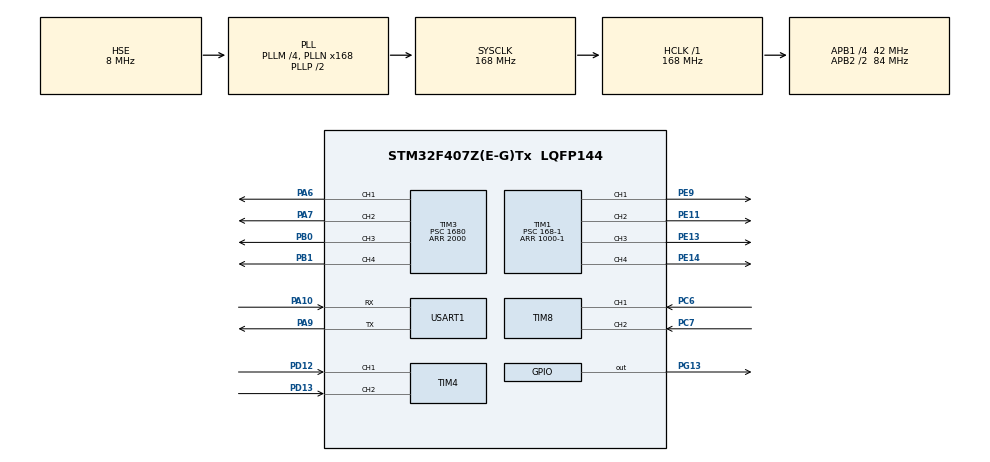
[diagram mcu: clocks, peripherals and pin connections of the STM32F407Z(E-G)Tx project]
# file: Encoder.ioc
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Mcu.Family=STM32F4
Mcu.Name=STM32F407Z(E-G)Tx
Mcu.Package=LQFP144
NVIC.PriorityGroup=NVIC_PRIORITYGROUP_4
NVIC.TIM2_IRQn=true\:1\:0\:true\:false\:true\:true\:true\:true
NVIC.TIM4_IRQn=true\:0\:0\:false\:false\:true\:true\:true\:true
PA10.Mode=Asynchronous
PA10.Signal=USART1_RX
PA6.Signal=S_TIM3_CH1
PA7.Signal=S_TIM3_CH2
PA9.Mode=Asynchronous
PA9.Signal=USART1_TX
PB0.Signal=S_TIM3_CH3
PB1.Signal=S_TIM3_CH4
PC6.Signal=S_TIM8_CH1
PC7.Signal=S_TIM8_CH2
PD12.Signal=S_TIM4_CH1
PD13.Signal=S_TIM4_CH2
PE11.Signal=S_TIM1_CH2
PE13.Signal=S_TIM1_CH3
PE14.Signal=S_TIM1_CH4
PE9.Signal=S_TIM1_CH1
PG13.PinState=GPIO_PIN_SET
PG13.Signal=GPIO_Output
PH0-OSC_IN.Mode=HSE-External-Oscillator
PH0-OSC_IN.Signal=RCC_OSC_IN
PH1-OSC_OUT.Mode=HSE-External-Oscillator
PH1-OSC_OUT.Signal=RCC_OSC_OUT
ProjectManager.HeapSize=0x200
ProjectManager.StackSize=0x400
ProjectManager.TargetToolchain=MDK-ARM V5.32
RCC.48MHZClocksFreq_Value=84000000
RCC.AHBFreq_Value=168000000
RCC.APB1CLKDivider=RCC_HCLK_DIV4
RCC.APB1Freq_Value=42000000
RCC.APB1TimFreq_Value=84000000
RCC.APB2CLKDivider=RCC_HCLK_DIV2
RCC.APB2Freq_Value=84000000
RCC.APB2TimFreq_Value=168000000
RCC.CortexFreq_Value=168000000
RCC.HCLKFreq_Value=168000000
RCC.HSE_VALUE=8000000
RCC.HSI_VALUE=16000000
RCC.LSE_VALUE=32768
RCC.PLLM=4
RCC.PLLN=168
RCC.PLLSourceVirtual=RCC_PLLSOURCE_HSE
RCC.SYSCLKFreq_VALUE=168000000
RCC.SYSCLKSource=RCC_SYSCLKSOURCE_PLLCLK
RCC.VCOOutputFreq_Value=336000000
SH.S_TIM1_CH1.0=TIM1_CH1,PWM Generation1 CH1
SH.S_TIM1_CH2.0=TIM1_CH2,PWM Generation2 CH2
SH.S_TIM1_CH3.0=TIM1_CH3,PWM Generation3 CH3
SH.S_TIM1_CH4.0=TIM1_CH4,PWM Generation4 CH4
SH.S_TIM3_CH1.0=TIM3_CH1,PWM Generation1 CH1
SH.S_TIM3_CH2.0=TIM3_CH2,PWM Generation2 CH2
SH.S_TIM3_CH3.0=TIM3_CH3,PWM Generation3 CH3
SH.S_TIM3_CH4.0=TIM3_CH4,PWM Generation4 CH4
SH.S_TIM4_CH1.0=TIM4_CH1,Encoder_Interface
SH.S_TIM4_CH2.0=TIM4_CH2,Encoder_Interface
SH.S_TIM8_CH1.0=TIM8_CH1,Encoder_Interface
SH.S_TIM8_CH2.0=TIM8_CH2,Encoder_Interface
TIM1.AutoReloadPreload=TIM_AUTORELOAD_PRELOAD_ENABLE
TIM1.Channel-PWM\ Generation1\ CH1=TIM_CHANNEL_1
TIM1.Channel-PWM\ Generation2\ CH2=TIM_CHANNEL_2
TIM1.Channel-PWM\ Generation3\ CH3=TIM_CHANNEL_3
TIM1.Channel-PWM\ Generation4\ CH4=TIM_CHANNEL_4
TIM1.Period=1000-1
TIM1.Prescaler=168-1
TIM3.AutoReloadPreload=TIM_AUTORELOAD_PRELOAD_ENABLE
TIM3.Channel-PWM\ Generation1\ CH1=TIM_CHANNEL_1
TIM3.Channel-PWM\ Generation2\ CH2=TIM_CHANNEL_2
TIM3.Channel-PWM\ Generation3\ CH3=TIM_CHANNEL_3
TIM3.Channel-PWM\ Generation4\ CH4=TIM_CHANNEL_4
TIM3.Period=2000
TIM3.Prescaler=1680
TIM4.EncoderMode=TIM_ENCODERMODE_TI12
TIM8.EncoderMode=TIM_ENCODERMODE_TI12
USART1.VirtualMode=VM_ASYNC
VP_TIM1_VS_ClockSourceINT.Mode=Internal
VP_TIM2_VS_ClockSourceINT.Mode=Internal
VP_TIM3_VS_ClockSourceINT.Mode=Internal
board=custom

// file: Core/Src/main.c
/* USER CODE BEGIN Header */
/**
  ******************************************************************************
  * @file           : main.c
  * @brief          : Main program body
  ******************************************************************************
  * @attention
  *
  * Copyright (c) 2022 STMicroelectronics.
  * All rights reserved.
  *
  * This software is licensed under terms that can be found in the LICENSE file
  * in the root directory of this software component.
  * If no LICENSE file comes with this software, it is provided AS-IS.
  *
  ******************************************************************************
  */
/* USER CODE END Header */
#include "main.h"
#include "dma.h"
#include "usart.h"
#include "gpio.h"
#include <stdlib.h>

#include "stdio.h"
#include "mpu6050.h"
#include "inv_mpu.h"
#include "inv_mpu_dmp_motion_driver.h"
#include "UpperMonitor.h"

#define KEY0 		PFin(6)
#define KEY1 		PFin(7)
#define KEY2 		PFin(8)
#define KEY3 	  PFin(9)

//按键值定义
#define KEY0_DATA	  1
#define KEY1_DATA	  2
#define KEY2_DATA	  3
#define KEY3_DATA   4

//定义一些常用的数据类型短关键字
typedef int32_t  s32;
typedef int16_t s16;
typedef int8_t  s8;

typedef const int32_t sc32;
typedef const int16_t sc16;
typedef const int8_t sc8;

typedef __IO int32_t  vs32;
typedef __IO int16_t  vs16;
typedef __IO int8_t   vs8;

typedef __I int32_t vsc32;
typedef __I int16_t vsc16;
typedef __I int8_t vsc8;

typedef uint32_t  u32;
typedef uint16_t u16;
typedef uint8_t  u8;

typedef const uint32_t uc32;
typedef const uint16_t uc16;
typedef const uint8_t uc8;

typedef __IO uint32_t  vu32;
typedef __IO uint16_t vu16;
typedef __IO uint8_t  vu8;

typedef __I uint32_t vuc32;
typedef __I uint16_t vuc16;
typedef __I uint8_t vuc8;

typedef struct
{
	u16 data0:1;
	u16 data1:1;
	u16 data2:1;
	u16 data3:1;
	u16 data4:1;
	u16 data5:1;
	u16 data6:1;
	u16 data7:1;
	u16 data8:1;
	u16 data9:1;
	u16 data10:1;
	u16 data11:1;
	u16 data12:1;
	u16 data13:1;
	u16 data14:1;
	u16 data15:1;
}_gpio_group;

//位带操作,实现51类似的GPIO控制功能
//具体实现思想,参考<<CM3权威指南>>第五章(87页~92页).M4同M3类似,只是寄存器地址变了.
//IO口操作宏定义
#define BITBAND(addr, bitnum) ((addr & 0xF0000000)+0x2000000+((addr &0xFFFFF)<<5)+(bitnum<<2))
#define MEM_ADDR(addr)  *((volatile unsigned long  *)(addr))
#define BIT_ADDR(addr, bitnum)   MEM_ADDR(BITBAND(addr, bitnum))
//IO口地址映射
#define GPIOA_ODR_Addr    (GPIOA_BASE+20) //0x40020014
#define GPIOB_ODR_Addr    (GPIOB_BASE+20) //0x40020414
#define GPIOC_ODR_Addr    (GPIOC_BASE+20) //0x40020814
#define GPIOD_ODR_Addr    (GPIOD_BASE+20) //0x40020C14
#define GPIOE_ODR_Addr    (GPIOE_BASE+20) //0x40021014
#define GPIOF_ODR_Addr    (GPIOF_BASE+20) //0x40021414
#define GPIOG_ODR_Addr    (GPIOG_BASE+20) //0x40021814
#define GPIOH_ODR_Addr    (GPIOH_BASE+20) //0x40021C14
#define GPIOI_ODR_Addr    (GPIOI_BASE+20) //0x40022014

#define GPIOA_IDR_Addr    (GPIOA_BASE+16) //0x40020010
#define GPIOB_IDR_Addr    (GPIOB_BASE+16) //0x40020410
#define GPIOC_IDR_Addr    (GPIOC_BASE+16) //0x40020810
#define GPIOD_IDR_Addr    (GPIOD_BASE+16) //0x40020C10
#define GPIOE_IDR_Addr    (GPIOE_BASE+16) //0x40021010
#define GPIOF_IDR_Addr    (GPIOF_BASE+16) //0x40021410
#define GPIOG_IDR_Addr    (GPIOG_BASE+16) //0x40021810
#define GPIOH_IDR_Addr    (GPIOH_BASE+16) //0x40021C10
#define GPIOI_IDR_Addr    (GPIOI_BASE+16) //0x40022010

//IO口操作,只对单一的IO口!
//确保n的值小于16!
#define PAout(n)   BIT_ADDR(GPIOA_ODR_Addr,n)  //输出
#define PAin(n)    BIT_ADDR(GPIOA_IDR_Addr,n)  //输入

#define PBout(n)   BIT_ADDR(GPIOB_ODR_Addr,n)  //输出
#define PBin(n)    BIT_ADDR(GPIOB_IDR_Addr,n)  //输入

#define PCout(n)   BIT_ADDR(GPIOC_ODR_Addr,n)  //输出
#define PCin(n)    BIT_ADDR(GPIOC_IDR_Addr,n)  //输入

#define PDout(n)   BIT_ADDR(GPIOD_ODR_Addr,n)  //输出
#define PDin(n)    BIT_ADDR(GPIOD_IDR_Addr,n)  //输入

#define PEout(n)   BIT_ADDR(GPIOE_ODR_Addr,n)  //输出
#define PEin(n)    BIT_ADDR(GPIOE_IDR_Addr,n)  //输入

#define PFout(n)   BIT_ADDR(GPIOF_ODR_Addr,n)  //输出
#define PFin(n)    BIT_ADDR(GPIOF_IDR_Addr,n)  //输入

#define PGout(n)   BIT_ADDR(GPIOG_ODR_Addr,n)  //输出
#define PGin(n)    BIT_ADDR(GPIOG_IDR_Addr,n)  //输入

#define PHout(n)   BIT_ADDR(GPIOH_ODR_Addr,n)  //输出
#define PHin(n)    BIT_ADDR(GPIOH_IDR_Addr,n)  //输入

#define PIout(n)   BIT_ADDR(GPIOI_ODR_Addr,n)  //输出
#define PIin(n)    BIT_ADDR(GPIOI_IDR_Addr,n)  //输入

#define SYSCLK 168    //系统时钟

//以下为汇编函数
void WFI_SET(void);		   //执行WFI指令
void INTX_DISABLE(void); //关闭所有中断
void INTX_ENABLE(void);	 //开启所有中断
void MSR_MSP(u32 addr);	 //设置堆栈地址

void GPIO_group_OUT(_gpio_group *group,u16 outdata);
void GPIO_bits_OUT(GPIO_TypeDef* GPIOx, u8 start_bit, u8 bit_size,u16 outdata);

void Stm32_Clock_Init(u32 plln,u32 pllm,u32 pllp,u32 pllq);//时钟系统配置

//void delay_init(void);
//void delay_ms(u16 nms);
//void delay_us(u32 nus);

#define USART3_REC_NUM  			100  	//定义最大接收字节数 200
extern u8 uart_byte_count;          //uart_byte_count要小于USART_REC_LEN
extern u8 receive_str[USART3_REC_NUM];

extern UART_HandleTypeDef UART3_Handler; //UART句柄
#define RXBUFFERSIZE   1 //缓存大小
extern u8 aRxBuffer[RXBUFFERSIZE];//HAL库USART接收Buffer

void uart3_init(u32 bound);
void uart3SendChars(u8 *str, u16 strlen);

#include "string.h"
#include "stdlib.h"

//LED端口定义
#define LED0 PGout(13)
#define LED1 PGout(14)
#define LED2 PGout(15)

//函数声明
void LED_Init(void);//初始化

void LED_Init(void)
{
    GPIO_InitTypeDef GPIO_Initure;
	  __HAL_RCC_GPIOG_CLK_ENABLE();           //开启GPIOG时钟

    GPIO_Initure.Pin=GPIO_PIN_13|GPIO_PIN_14|GPIO_PIN_15; //PG13,14，15
    GPIO_Initure.Mode=GPIO_MODE_OUTPUT_PP;  //推挽输出
    GPIO_Initure.Pull=GPIO_PULLUP;          //上拉
    GPIO_Initure.Speed=GPIO_SPEED_HIGH;     //高速
    HAL_GPIO_Init(GPIOG,&GPIO_Initure);

    HAL_GPIO_WritePin(GPIOG,GPIO_PIN_13,GPIO_PIN_SET);	//PG13置1，默认初始化后灯灭
    HAL_GPIO_WritePin(GPIOG,GPIO_PIN_14,GPIO_PIN_SET);	//PG14置1，默认初始化后灯灭
	  HAL_GPIO_WritePin(GPIOG,GPIO_PIN_15,GPIO_PIN_SET);	//PG15置1，默认初始化后灯灭
}

/*********************************************************************************
************************启明欣欣 STM32F407核心开发板******************************
**********************************************************************************
* 文件名称: usart1.c                                                             *
* 文件简述：USART1使用                                                           *
* 创建日期：2015.03.06                                                           *
* 版    本：V1.0                                                                 *
* 作    者：Clever                                                               *
* 说    明：利用串口调试助手经过USART1控制LED亮灭与蜂鸣器响闭                    *
**********************************************************************************
*********************************************************************************/

u8 receive_str[USART3_REC_NUM];     //接收缓存数组,最大USART_REC_LEN个字节
u8 uart_byte_count=0;

u8 aRxBuffer[RXBUFFERSIZE]; //HAL库使用的串口接收缓冲
UART_HandleTypeDef UART3_Handler; //UART句柄

/****************************************************************************
* 名    称: void uart1_init(u32 bound)
* 功    能：USART1初始化
* 入口参数：bound：波特率
* 返回参数：无
* 说    明：
****************************************************************************/
void uart3_init(u32 bound)
{
  //UART 初始化设置
	UART3_Handler.Instance=USART3;					    //USART3
	UART3_Handler.Init.BaudRate=bound;				    //波特率
	UART3_Handler.Init.WordLength=UART_WORDLENGTH_8B;   //字长为8位数据格式
	UART3_Handler.Init.StopBits=UART_STOPBITS_1;	    //一个停止位
	UART3_Handler.Init.Parity=UART_PARITY_NONE;		    //无奇偶校验位
	UART3_Handler.Init.HwFlowCtl=UART_HWCONTROL_NONE;   //无硬件流控
	UART3_Handler.Init.Mode=UART_MODE_TX_RX;		    //收发模式
	HAL_UART_Init(&UART3_Handler);					    //HAL_UART_Init()会使能UART1

	HAL_UART_Receive_IT(&UART3_Handler, (u8 *)aRxBuffer, RXBUFFERSIZE);//该函数会开启接收中断：标志位UART_IT_RXNE，并且设置接收缓冲以及接收缓冲接收最大数据量
}

/*因printf()之类的函数，使用了半主机模式。使用标准库会导致程序无法
	运行,以下是解决方法:使用微库,因为使用微库的话,不会使用半主机模式.
	请在工程属性的“Target“-》”Code Generation“中勾选”Use MicroLIB“这
	样以后就可以使用printf，sprintf函数了*/
//重定义fputc函数
int fputc(int ch, FILE *f)
{
	while((USART3->SR&0X40)==0);//循环发送,直到发送完毕
	USART3->DR = (u8) ch;
	return ch;
}

//串口1发送一个字符
void uart3SendChar(u8 ch)
{
	while((USART3->SR&0x40)==0);
    USART3->DR = (u8) ch;
}

/****************************************************************************
* 名    称: void uart1SendChars(u8 *str, u16 strlen)
* 功    能：串口1发送一字符串
* 入口参数：*str：发送的字符串
            strlen：字符串长度
* 返回参数：无
* 说    明：
****************************************************************************/
void uart3SendChars(u8 *str, u16 strlen)
{
	  u16 k= 0 ;
   do { uart3SendChar(*(str + k)); k++; }   //循环发送,直到发送完毕
    while (k < strlen);
}

//串口1中断服务程序
void USART3_IRQHandler(void)
{
	u32 timeout=0;

	HAL_UART_IRQHandler(&UART3_Handler);	//调用HAL库中断处理公用函数

	timeout=0;
    while (HAL_UART_GetState(&UART3_Handler) != HAL_UART_STATE_READY)//等待就绪
	{
	 timeout++;////超时处理
     if(timeout>HAL_MAX_DELAY) break;

	}

	timeout=0;
	while(HAL_UART_Receive_IT(&UART3_Handler, (u8 *)aRxBuffer, RXBUFFERSIZE) != HAL_OK)//一次处理完成之后，重新开启中断并设置RxXferCount为1
	{
	 timeout++; //超时处理
	 if(timeout>HAL_MAX_DELAY) break;
  }
}

//变量声明
extern u8   keydown_data;    //按键按下后就返回的值
extern u8   keyup_data;      //按键抬起返回值
extern u16  key_time;
extern u8   key_tem;

//函数声明
void KEY_Init(void);	      //IO初始化
void key_scan(u8 mode);  		//按键扫描函数

float pitch,roll,yaw; 		//欧拉角
short aacx,aacy,aacz;		//加速度传感器原始数据
short gyrox,gyroy,gyroz;	//陀螺仪原始数据
short temp;				//温度

TIM_HandleTypeDef htim1;
TIM_HandleTypeDef htim2;
TIM_HandleTypeDef htim3;
TIM_HandleTypeDef htim4;
TIM_HandleTypeDef htim8;

UART_HandleTypeDef huart1;

void SystemClock_Config(void);
static void MX_GPIO_Init(void);
static void MX_TIM1_Init(void);
static void MX_TIM2_Init(void);
static void MX_TIM4_Init(void);
static void MX_USART1_UART_Init(void);
static void MX_TIM8_Init(void);
static void MX_TIM3_Init(void);

/* USER CODE BEGIN 0 */
void servo_angle(int num,int angle);

float Motorn1;  // 电机转速
float Motorv1;  // 电机转速
int pwm_balance;		  // 电机输出
float Motorn2;  // 电机转速
float Motorv2;  // 电机转速
int v;
int turn_pwm;
int left_speed;
int right_speed;
int Speed;
int Speed1;
int Speed2;
int lspeed;
int hspeed;
unsigned char i = 0;
int TIM2_Count = 0;
int Encoder_left = 0;
int Encoder_right = 0;
float Velocity=0,Encoder_Last=0,Encoder=0,Movement=0;
float Encoder_Integral=0;
float bias;
int target_speed = 0;
u8  keydown_data=0x00;    //按键按下后就返回的值
u8  keyup_data=0x00;      //按键抬起返回值
u16  key_time=0x00;       //按键按下之后的时间计数，该值乘以扫描一次按键函数的时间就等于按键按下的时间
u8  key_tem=0x00;         //长按的按键值与按键扫描程序过渡变量
u8  key_bak=0x00;
int run = 0;
int up_down = 0;
int run_ud = 0;
int delt = 0;

//int fputc(int ch, FILE *p)
//{
//	while(!(USART1->SR & (1<<7)));
//	USART1->DR = ch;
//
//	return ch;
//}
/* USER CODE END 0 */

int main(void)
{

  HAL_Init();
  SystemClock_Config();
  MX_GPIO_Init();
  MX_TIM1_Init();
  MX_TIM2_Init();
  MX_TIM4_Init();
  MX_USART1_UART_Init();
  MX_TIM8_Init();
  MX_TIM3_Init();
	KEY_Init();
	uart3_init(9600);	    //串口初始化波特率为9600
	LED_Init();		  		  //初始化与LED
	printf("%d\r\n",MPU_Init());
	mpu_dmp_init();
	HAL_Delay(500);

  HAL_TIM_PWM_Start(&htim1, TIM_CHANNEL_1);	    // TIM1_CH1(pwm)  PE9
	HAL_TIM_PWM_Start(&htim1, TIM_CHANNEL_2);	    // TIM1_CH2(pwm)  PE11
	HAL_TIM_PWM_Start(&htim1, TIM_CHANNEL_3);	    // TIM1_CH3(pwm)  PE13
	HAL_TIM_PWM_Start(&htim1, TIM_CHANNEL_4);	    // TIM1_CH4(pwm)  PE14
  HAL_TIM_Encoder_Start(&htim4, TIM_CHANNEL_1); // 开启编码器A    PD12
  HAL_TIM_Encoder_Start(&htim4, TIM_CHANNEL_2); // 开启编码器B	  PD13
	HAL_TIM_Encoder_Start(&htim8, TIM_CHANNEL_1); // 开启编码器A    PC6
  HAL_TIM_Encoder_Start(&htim8, TIM_CHANNEL_2); // 开启编码器B	  PC7
  HAL_TIM_Base_Start_IT(&htim2);                // 使能定时器2中断
  HAL_TIM_PWM_Start(&htim3,TIM_CHANNEL_1);
	HAL_TIM_PWM_Start(&htim3,TIM_CHANNEL_2);
	HAL_TIM_PWM_Start(&htim3,TIM_CHANNEL_3);
	HAL_TIM_PWM_Start(&htim3,TIM_CHANNEL_4);

  while (1)
  {

		//按键模式
//		key_scan(0);
//		if(keyup_data==KEY0_DATA)     //key按下抬起之后执行相应代码
//		{
//			run = 0;
//			up_down = 0;
//			run_ud = 1;
//		}
//		if(keyup_data==KEY1_DATA)     //key按下抬起之后执行相应代码
//		{
//			run = 0;
//			up_down = 1;
//			run_ud = 0;
//		}
//		if(keyup_data==KEY0_DATA)     //key按下抬起之后执行相应代码
//		{
//			run = 1;
//			up_down = 0;
//			run_ud = 0;
//		}
//
//		if(!run && !up_down && !run_ud)
//		{
//			servo_angle(1,5);   //CH1 PA6
//			servo_angle(2,5);   //CH2 PA7
//			servo_angle(3,5);   //CH3 PB0
//			servo_angle(4,5);   //CH4 PB1
//		}

//			servo_angle(1,5);   //CH1 PA6
//			servo_angle(2,5);   //CH2 PA7
//			servo_angle(3,5);   //CH3 PB0
//			servo_angle(4,5);   //CH4 PB1
//
		//舵机角度 TIM3
		//0-20ms->2000,0.5-1.5ms->50-150(13)或150-50(24)

			//******** 伸缩腿平衡 ********
//		if(up_down == 1)
//		{
//			servo_angle(1,5);   //CH1 PA6
//			servo_angle(2,5);   //CH2 PA7
//			servo_angle(3,5);   //CH3 PB0
//			servo_angle(4,5);   //CH4 PB1
//			HAL_Delay(3000);
//			servo_angle(1,10);   //CH1 PA6
//			servo_angle(2,10);   //CH2 PA7
//			servo_angle(3,10);   //CH3 PB0
//			servo_angle(4,10);   //CH4 PB1
//			HAL_Delay(50);
//			servo_angle(1,15);   //CH1 PA6
//			servo_angle(2,15);   //CH2 PA7
//			servo_angle(3,15);   //CH3 PB0
//			servo_angle(4,15);   //CH4 PB1
//			HAL_Delay(50);
//			servo_angle(1,20);   //CH1 PA6
//			servo_angle(2,20);   //CH2 PA7
//			servo_angle(3,20);   //CH3 PB0
//			servo_angle(4,20);   //CH4 PB1
//			HAL_Delay(50);
//			servo_angle(1,25);   //CH1 PA6
//			servo_angle(2,25);   //CH2 PA7
//			servo_angle(3,25);   //CH3 PB0
//			servo_angle(4,25);   //CH4 PB1
//			HAL_Delay(50);
//			servo_angle(1,30);   //CH1 PA6
//			servo_angle(2,30);   //CH2 PA7
//			servo_angle(3,30);   //CH3 PB0
//			servo_angle(4,30);   //CH4 PB1
//			HAL_Delay(500);
//			servo_angle(1,25);   //CH1 PA6
//			servo_angle(2,25);   //CH2 PA7
//			servo_angle(3,25);   //CH3 PB0
//			servo_angle(4,25);   //CH4 PB1
//			HAL_Delay(50);
//			servo_angle(1,20);   //CH1 PA6
//			servo_angle(2,20);   //CH2 PA7
//			servo_angle(3,20);   //CH3 PB0
//			servo_angle(4,20);   //CH4 PB1
//			HAL_Delay(50);
//			servo_angle(1,15);   //CH1 PA6
//			servo_angle(2,15);   //CH2 PA7
//			servo_angle(3,15);   //CH3 PB0
//			servo_angle(4,15);   //CH4 PB1
//			HAL_Delay(50);
//			servo_angle(1,10);   //CH1 PA6
//			servo_angle(2,10);   //CH2 PA7
//			servo_angle(3,10);   //CH3 PB0
//			servo_angle(4,10);   //CH4 PB1
//			HAL_Delay(50);
//		}

//		if(run_ud == 1)
//		{
//			servo_angle(1,5);   //CH1 PA6
//			servo_angle(2,5);   //CH2 PA7
//			servo_angle(3,5);   //CH3 PB0
//			servo_angle(4,5);   //CH4 PB1
//			HAL_Delay(3000);
//			servo_angle(1,10);   //CH1 PA6
//			servo_angle(2,10);   //CH2 PA7
//			servo_angle(3,10);   //CH3 PB0
//			servo_angle(4,10);   //CH4 PB1
//			HAL_Delay(50);
//			servo_angle(1,17);   //CH1 PA6
//			servo_angle(2,15);   //CH2 PA7
//			servo_angle(3,15);   //CH3 PB0
//			servo_angle(4,17);   //CH4 PB1
//			HAL_Delay(50);
//			servo_angle(1,23);   //CH1 PA6
//			servo_angle(2,20);   //CH2 PA7
//			servo_angle(3,20);   //CH3 PB0
//			servo_angle(4,23);   //CH4 PB1
//			HAL_Delay(50);
//			servo_angle(1,29);   //CH1 PA6
//			servo_angle(2,25);   //CH2 PA7
//			servo_angle(3,25);   //CH3 PB0
//			servo_angle(4,29);   //CH4 PB1
//			HAL_Delay(50);
//			servo_angle(1,23);   //CH1 PA6
//			servo_angle(2,20);   //CH2 PA7
//			servo_angle(3,20);   //CH3 PB0
//			servo_angle(4,23);   //CH4 PB1
//			HAL_Delay(50);
//			servo_angle(1,17);   //CH1 PA6
//			servo_angle(2,15);   //CH2 PA7
//			servo_angle(3,15);   //CH3 PB0
//			servo_angle(4,17);   //CH4 PB1
//			HAL_Delay(50);
//			servo_angle(1,10);   //CH1 PA6
//			servo_angle(2,10);   //CH2 PA7
//			servo_angle(3,10);   //CH3 PB0
//			servo_angle(4,10);   //CH4 PB1
//			HAL_Delay(50);
//		}

  }
  /* USER CODE END 3 */
}

//按键IO口初始化函数
void KEY_Init(void)
{
    GPIO_InitTypeDef GPIO_Initure;

    __HAL_RCC_GPIOF_CLK_ENABLE();           //开启GPIOF时钟

		GPIO_Initure.Pin=GPIO_PIN_6|GPIO_PIN_7|GPIO_PIN_8|GPIO_PIN_9; //PF6,7,8,9    KEY0 KEY1 KEY2 KEY3对应引脚
    GPIO_Initure.Mode=GPIO_MODE_INPUT;      //输入
    GPIO_Initure.Pull=GPIO_PULLUP;          //上拉
    GPIO_Initure.Speed=GPIO_SPEED_HIGH;     //高速
    HAL_GPIO_Init(GPIOF,&GPIO_Initure);
}
/****************************************************************************
* 名    称: void key_scan(u8 mode)
* 功    能：按键扫描函数
* 入口参数：mode：0：单按
                  1: 连按
* 返回参数：无
* 说    明：响应优先级,KEY0>KEY1>KEY2>KEY3
****************************************************************************/
void key_scan(u8 mode)
{
	 keyup_data=0;         //键抬起后按键值一次有效

	if(KEY0==0||KEY1==0||KEY2==0||KEY3==0)   //有键正按下
	{
		if(KEY0==0)      key_tem=1;
		else if(KEY1==0) key_tem=2;
		else if(KEY2==0) key_tem=3;
		else if(KEY3==0) key_tem=4;

		  if (key_tem == key_bak)      //有键按下后第一次扫描不处理，与else配合第二次扫描有效，这样实现了去抖动
			  {
				   key_time++;             //有键按下后执行一次扫描函数，该变量加1
					 keydown_data=key_tem;   //按键值赋予keydown_data

					 if( (mode==0)&&(key_time>1) )//key_time>1按键值无效，这就是单按，如果mode为1就为连按
					    keydown_data=0;
       	}
	    else                             //去抖动
	      {
		       key_time=0;
		       key_bak=key_tem;
	      }

	}
	else       //键抬起
		{
	     if(key_time>2)            //按键抬起后返回一次按键值
	        {
		        keyup_data=key_tem;  //键抬起后按键值赋予keydown_data
	       	}
				key_bak=0;               //要清零，不然下次执行扫描程序时按键的值跟上次按的值一样，就没有去抖动处理了
	      key_time=0;
				keydown_data=0;
	  }
}

void servo_angle(int num,int angle)
{
	int pwm =  angle*200/180;
	if (num==1) __HAL_TIM_SetCompare(&htim3, TIM_CHANNEL_1, 55+pwm);
	if (num==2) __HAL_TIM_SetCompare(&htim3, TIM_CHANNEL_2, 150-pwm);
	if (num==3) __HAL_TIM_SetCompare(&htim3, TIM_CHANNEL_3, 50+pwm);
	if (num==4) __HAL_TIM_SetCompare(&htim3, TIM_CHANNEL_4, 150-pwm);
}

int balance(int v,float Angle,float Gyro)
{
	 float kp,kd;  //kp对应角度，kd对应角速度
	 //角速度=gyro/16.4；°/s
	 Gyro = Gyro/16.4;

   kp=80;kd=7;
	 float angle_balance = 0;
	 int balance;
	 bias=Angle-angle_balance-v;       //===求出平衡的角度中值 和机械相关
	 balance=kp*bias+Gyro*kd;   //===计算平衡控制的电机PWM  PD控制   kp是P系数 kd是D系数

	 return balance;
}

int velocity(int encoder_left,int encoder_right)
{

		int left = encoder_left;
		int right = encoder_right;

    float Velocity_Kp=1,Velocity_Ki=Velocity_Kp/200.0;

    //=============速度PI控制器=======================//
    Encoder_Last =(left + right)-target_speed;                 //===获取最新速度偏差==测量速度（左右编码器之和）-目标速度（此处为零）
    Encoder *= 0.8;                                                  //===一阶低通滤波器
    Encoder += Encoder_Last*0.2;                                    //===一阶低通滤波器
    Encoder_Integral +=Encoder;                                      //===积分出位移 积分时间：5ms
    Encoder_Integral=Encoder_Integral-Movement;                      //===接收遥控器数据，控制前进后退
    if(Encoder_Integral>10000)  Encoder_Integral=10000;              //===积分限幅
    if(Encoder_Integral<-10000) Encoder_Integral=-10000;             //===积分限幅
    Velocity = Encoder*Velocity_Kp+Encoder_Integral*Velocity_Ki;     //===速度控制
    return Velocity;
}

void HAL_TIM_PeriodElapsedCallback(TIM_HandleTypeDef *htim)
{
    //static unsigned char i = 0;
		//5ms一次定TIM2中断
    if (htim == (&htim2))
    {
				TIM2_Count ++;
				if(mpu_dmp_get_data(&pitch,&roll,&yaw)==0)
				{
					//roll往前倒为负
					temp = MPU_Get_Temperature();	//得到温度值
					MPU_Get_Accelerometer(&aacx,&aacy,&aacz);	//得到加速度传感器数据  角加速度=aac/2048
					MPU_Get_Gyroscope(&gyrox,&gyroy,&gyroz);	//得到陀螺仪数据        角速度=gyro/16.4
					//printf("\r\npitch:%02f   yaw:%02f   roll:%02f\r\n",pitch,yaw,roll);
		    }

			  //1.获取转速  时间10ms，减速比1:30，编码器ppr=13，采用4倍频，则 n=100*Pulses/(13*30*4)
        //MotorSpeed = (short)(__HAL_TIM_GET_COUNTER(&htim4)*100/(13*4*30));
//				Motorn1 = (__HAL_TIM_GET_COUNTER(&htim4)*0.064);  //实际大概为一半？
//				Motorv1 = Motorn1*3.14*0.065;
//				Motorn2 = (__HAL_TIM_GET_COUNTER(&htim8)*0.064);  //实际大概为一半？
//				Motorv2 = Motorn2*3.14*0.065;
        // TIM4计数器获得电机脉冲，该电机在10ms采样的脉冲/18则为实际转速的rpm

				//向前为正，向后为负
				Encoder_left = (short)__HAL_TIM_GET_COUNTER(&htim4);
				Encoder_right = -(short)__HAL_TIM_GET_COUNTER(&htim8);
        __HAL_TIM_SET_COUNTER(&htim4,0);  // 计数器清零
			  __HAL_TIM_SET_COUNTER(&htim8,0);  // 计数器清零

				//*****串级PID*****
//				v = velocity(Encoder_left,Encoder_right);
//				pwm_balance=balance(v,roll,gyrox);
//				Speed = pwm_balance;

				//******** 行走 ********
//				if(TIM2_Count<=500) target_speed=0;
//				else target_speed=-10;
//				else if(TIM2_Count<=1500 && target_speed>-15) target_speed--;
//				else if(TIM2_Count<=1500 && target_speed<=-15) target_speed=-15;
//				else if(TIM2_Count<=2700 && target_speed<15) target_speed++;
//				else if(TIM2_Count<=2700 && target_speed>=15) target_speed=15;
//				else TIM2_Count=0;

				int min_speed = 180;
				int max_speed = 400;

//				if(run == 1)
//				{
//					if(TIM2_Count<=500) target_speed=0;
//					else if(TIM2_Count<=1500 && target_speed>-20) target_speed--;
//					else if(TIM2_Count<=1500 && target_speed<=-20) target_speed=-20;
//					else if(TIM2_Count<=2800 && target_speed<20) target_speed++;
//					else if(TIM2_Count<=2800 && target_speed>=20) target_speed=20;
//					else TIM2_Count=0;
//				}
//
//				if(run_ud == 1)
//				{
//					max_speed = 250;
//					if(TIM2_Count<=500) target_speed=0;
//					else if(TIM2_Count<=1500 && target_speed>-15) target_speed--;
//					else if(TIM2_Count<=1500 && target_speed<=-15) target_speed=-15;
//					else if(TIM2_Count<=2600 && target_speed<15) target_speed++;
//					else if(TIM2_Count<=2600 && target_speed>=15) target_speed=15;
//					else TIM2_Count=0;
//				}

				//*****并级PID*****
				pwm_balance=balance(0,roll,gyrox);
				v = velocity(Encoder_left,Encoder_right);
				Speed = pwm_balance - 20*v;

				// 并串PID
//				v = velocity(Encoder_left,Encoder_right);
//				pwm_balance=balance(v,roll,gyrox);
//				Speed = abs(pwm_balance - v);

					if (Speed>0)
					{
						if (Speed<min_speed) Speed=min_speed;
						else if(Speed>max_speed) Speed=max_speed;
						else Speed=Speed;
						__HAL_TIM_SET_COMPARE(&htim1, TIM_CHANNEL_1, 0);
						__HAL_TIM_SET_COMPARE(&htim1, TIM_CHANNEL_4, 0);
						__HAL_TIM_SET_COMPARE(&htim1, TIM_CHANNEL_2, Speed);
						__HAL_TIM_SET_COMPARE(&htim1, TIM_CHANNEL_3, Speed-delt);
					} else
					{
						if (Speed>-min_speed) Speed=-min_speed;
						else if(Speed<-max_speed) Speed=-max_speed;
						else Speed=Speed;
						__HAL_TIM_SET_COMPARE(&htim1, TIM_CHANNEL_2, 0);
						__HAL_TIM_SET_COMPARE(&htim1, TIM_CHANNEL_3, 0);
						__HAL_TIM_SET_COMPARE(&htim1, TIM_CHANNEL_1, -Speed);
						__HAL_TIM_SET_COMPARE(&htim1, TIM_CHANNEL_4, -Speed-delt);
					}

        i++;
        if(i>10)
        {
          // 通过观察小灯亮灭来判断是否正确进入定时器中断
          HAL_GPIO_TogglePin(GPIOG, GPIO_PIN_13);
          // 打印定时器4的计数值，short（-32768——32767）
					//printf("Encoder = %d moto = %d \r\n",MotorSpeed,MotorOutput);
					//printf("转速 = %.2fr/s,  线速度=%.2fm/s \r\n",Motorn1,Motorv1);
					//printf("roll=%.2f,  gyrox=%hd\r\n\r\n",roll,gyrox/(short)16);
//					printf("pitch=%.2f,  gyroy=%hd\r\n\r\n",pitch,gyroy/(short)16);
					//printf("Encoder=%.2f, Integral=%.2f\r\n\r\n",Encoder,Encoder_Integral);
					//printf("left=%d,  right=%d\r\n\r\n",Encoder_left,Encoder_right);
					//printf("speed=%d\r\n\r\n",Speed);
					//printf("roll=%.2f, pitch=%.2f, yaw=%.2f, rx=%d\r\n\r\n",roll,pitch,yaw,gyrox);  //x:roll前后平衡,y:pitch左右平衡,z:yaw转动
					//printf("ax=%hd,ay=%hd,az=%hd,gx=%hd,gy=%hd,gz=%hd \r\n",aacx,aacy,aacz,gyrox,gyroy,gyroz);
          i=0;
        }
//			}
    }
}

void SystemClock_Config(void)
{
  RCC_OscInitTypeDef RCC_OscInitStruct = {0};
  RCC_ClkInitTypeDef RCC_ClkInitStruct = {0};

  /** Configure the main internal regulator output voltage
  */
  __HAL_RCC_PWR_CLK_ENABLE();
  __HAL_PWR_VOLTAGESCALING_CONFIG(PWR_REGULATOR_VOLTAGE_SCALE1);

  /** Initializes the RCC Oscillators according to the specified parameters
  * in the RCC_OscInitTypeDef structure.
  */
  RCC_OscInitStruct.OscillatorType = RCC_OSCILLATORTYPE_HSE;
  RCC_OscInitStruct.HSEState = RCC_HSE_ON;
  RCC_OscInitStruct.PLL.PLLState = RCC_PLL_ON;
  RCC_OscInitStruct.PLL.PLLSource = RCC_PLLSOURCE_HSE;
  RCC_OscInitStruct.PLL.PLLM = 4;
  RCC_OscInitStruct.PLL.PLLN = 168;
  RCC_OscInitStruct.PLL.PLLP = RCC_PLLP_DIV2;
  RCC_OscInitStruct.PLL.PLLQ = 4;
  if (HAL_RCC_OscConfig(&RCC_OscInitStruct) != HAL_OK)
  {
    Error_Handler();
  }

  /** Initializes the CPU, AHB and APB buses clocks
  */
  RCC_ClkInitStruct.ClockType = RCC_CLOCKTYPE_HCLK|RCC_CLOCKTYPE_SYSCLK
                              |RCC_CLOCKTYPE_PCLK1|RCC_CLOCKTYPE_PCLK2;
  RCC_ClkInitStruct.SYSCLKSource = RCC_SYSCLKSOURCE_PLLCLK;
  RCC_ClkInitStruct.AHBCLKDivider = RCC_SYSCLK_DIV1;
  RCC_ClkInitStruct.APB1CLKDivider = RCC_HCLK_DIV4;
  RCC_ClkInitStruct.APB2CLKDivider = RCC_HCLK_DIV2;

  if (HAL_RCC_ClockConfig(&RCC_ClkInitStruct, FLASH_LATENCY_5) != HAL_OK)
  {
    Error_Handler();
  }
}

void HAL_UART_RxCpltCallback(UART_HandleTypeDef *huart)  //中断执行任务函数  被  中断服务函数调用
{
	u8 rec_data;

	if(huart->Instance==USART3)//如果是串口1
	{
		rec_data=aRxBuffer[0] ;
		if(rec_data=='S')		  	 //起始位
				{
					uart_byte_count=0x01;
				}

			else if(rec_data=='E')  //停止位
				{
					if(strcmp("forward",(char *)receive_str)==0)
						{target_speed-=6;}  //前进
					else if(strcmp("back",(char *)receive_str)==0)
						{target_speed+=6;}  //后退
					else if(strcmp("stop",(char *)receive_str)==0)
						{target_speed=0;delt=0;}  //停止
					else if(strcmp("left",(char *)receive_str)==0)
						{delt+=20;}	//左转
					else if(strcmp("right",(char *)receive_str)==0)
						{delt-=20;}	  //右转

					for(uart_byte_count=0;uart_byte_count<32;uart_byte_count++)receive_str[uart_byte_count]=0x00;
					uart_byte_count=0;
				}
			else if((uart_byte_count>0)&&(uart_byte_count<=USART3_REC_NUM))
				{
				   receive_str[uart_byte_count-1]=rec_data;
				   uart_byte_count++;
				}
	}
}

static void MX_TIM1_Init(void)
{

  TIM_ClockConfigTypeDef sClockSourceConfig = {0};
  TIM_MasterConfigTypeDef sMasterConfig = {0};
  TIM_OC_InitTypeDef sConfigOC = {0};
  TIM_BreakDeadTimeConfigTypeDef sBreakDeadTimeConfig = {0};

  htim1.Instance = TIM1;
  htim1.Init.Prescaler = 168-1;
  htim1.Init.CounterMode = TIM_COUNTERMODE_UP;
  htim1.Init.Period = 500-1;
  htim1.Init.ClockDivision = TIM_CLOCKDIVISION_DIV1;
  htim1.Init.RepetitionCounter = 0;
  htim1.Init.AutoReloadPreload = TIM_AUTORELOAD_PRELOAD_ENABLE;
  if (HAL_TIM_Base_Init(&htim1) != HAL_OK)
  {
    Error_Handler();
  }
  sClockSourceConfig.ClockSource = TIM_CLOCKSOURCE_INTERNAL;
  if (HAL_TIM_ConfigClockSource(&htim1, &sClockSourceConfig) != HAL_OK)
  {
    Error_Handler();
  }
  if (HAL_TIM_PWM_Init(&htim1) != HAL_OK)
  {
    Error_Handler();
  }
  sMasterConfig.MasterOutputTrigger = TIM_TRGO_RESET;
  sMasterConfig.MasterSlaveMode = TIM_MASTERSLAVEMODE_DISABLE;
  if (HAL_TIMEx_MasterConfigSynchronization(&htim1, &sMasterConfig) != HAL_OK)
  {
    Error_Handler();
  }
  sConfigOC.OCMode = TIM_OCMODE_PWM1;
  sConfigOC.Pulse = 0;
  sConfigOC.OCPolarity = TIM_OCPOLARITY_HIGH;
  sConfigOC.OCNPolarity = TIM_OCNPOLARITY_HIGH;
  sConfigOC.OCFastMode = TIM_OCFAST_DISABLE;
  sConfigOC.OCIdleState = TIM_OCIDLESTATE_RESET;
  sConfigOC.OCNIdleState = TIM_OCNIDLESTATE_RESET;
  if (HAL_TIM_PWM_ConfigChannel(&htim1, &sConfigOC, TIM_CHANNEL_1) != HAL_OK)
  {
    Error_Handler();
  }
  if (HAL_TIM_PWM_ConfigChannel(&htim1, &sConfigOC, TIM_CHANNEL_2) != HAL_OK)
  {
    Error_Handler();
  }
  if (HAL_TIM_PWM_ConfigChannel(&htim1, &sConfigOC, TIM_CHANNEL_3) != HAL_OK)
  {
    Error_Handler();
  }
  if (HAL_TIM_PWM_ConfigChannel(&htim1, &sConfigOC, TIM_CHANNEL_4) != HAL_OK)
  {
    Error_Handler();
  }
  sBreakDeadTimeConfig.OffStateRunMode = TIM_OSSR_DISABLE;
  sBreakDeadTimeConfig.OffStateIDLEMode = TIM_OSSI_DISABLE;
  sBreakDeadTimeConfig.LockLevel = TIM_LOCKLEVEL_OFF;
  sBreakDeadTimeConfig.DeadTime = 0;
  sBreakDeadTimeConfig.BreakState = TIM_BREAK_DISABLE;
  sBreakDeadTimeConfig.BreakPolarity = TIM_BREAKPOLARITY_HIGH;
  sBreakDeadTimeConfig.AutomaticOutput = TIM_AUTOMATICOUTPUT_DISABLE;
  if (HAL_TIMEx_ConfigBreakDeadTime(&htim1, &sBreakDeadTimeConfig) != HAL_OK)
  {
    Error_Handler();
  }
  HAL_TIM_MspPostInit(&htim1);

}

static void MX_TIM2_Init(void)
{

  TIM_ClockConfigTypeDef sClockSourceConfig = {0};
  TIM_MasterConfigTypeDef sMasterConfig = {0};

  htim2.Instance = TIM2;
  htim2.Init.Prescaler = 840-1;
  htim2.Init.CounterMode = TIM_COUNTERMODE_UP;
  htim2.Init.Period = 500-1;
  htim2.Init.ClockDivision = TIM_CLOCKDIVISION_DIV1;
  htim2.Init.AutoReloadPreload = TIM_AUTORELOAD_PRELOAD_DISABLE;
  if (HAL_TIM_Base_Init(&htim2) != HAL_OK)
  {
    Error_Handler();
  }
  sClockSourceConfig.ClockSource = TIM_CLOCKSOURCE_INTERNAL;
  if (HAL_TIM_ConfigClockSource(&htim2, &sClockSourceConfig) != HAL_OK)
  {
    Error_Handler();
  }
  sMasterConfig.MasterOutputTrigger = TIM_TRGO_RESET;
  sMasterConfig.MasterSlaveMode = TIM_MASTERSLAVEMODE_DISABLE;
  if (HAL_TIMEx_MasterConfigSynchronization(&htim2, &sMasterConfig) != HAL_OK)
  {
    Error_Handler();
  }

}

static void MX_TIM3_Init(void)
{

  TIM_ClockConfigTypeDef sClockSourceConfig = {0};
  TIM_MasterConfigTypeDef sMasterConfig = {0};
  TIM_OC_InitTypeDef sConfigOC = {0};

  htim3.Instance = TIM3;
  htim3.Init.Prescaler = 839;
  htim3.Init.CounterMode = TIM_COUNTERMODE_UP;
  htim3.Init.Period = 2000-1;
  htim3.Init.ClockDivision = TIM_CLOCKDIVISION_DIV1;
  htim3.Init.AutoReloadPreload = TIM_AUTORELOAD_PRELOAD_ENABLE;
  if (HAL_TIM_Base_Init(&htim3) != HAL_OK)
  {
    Error_Handler();
  }
  sClockSourceConfig.ClockSource = TIM_CLOCKSOURCE_INTERNAL;
  if (HAL_TIM_ConfigClockSource(&htim3, &sClockSourceConfig) != HAL_OK)
  {
    Error_Handler();
  }
  if (HAL_TIM_PWM_Init(&htim3) != HAL_OK)
  {
    Error_Handler();
  }
  sMasterConfig.MasterOutputTrigger = TIM_TRGO_RESET;
  sMasterConfig.MasterSlaveMode = TIM_MASTERSLAVEMODE_DISABLE;
  if (HAL_TIMEx_MasterConfigSynchronization(&htim3, &sMasterConfig) != HAL_OK)
  {
    Error_Handler();
  }
  sConfigOC.OCMode = TIM_OCMODE_PWM1;
  sConfigOC.Pulse = 0;
  sConfigOC.OCPolarity = TIM_OCPOLARITY_HIGH;
  sConfigOC.OCFastMode = TIM_OCFAST_DISABLE;
  if (HAL_TIM_PWM_ConfigChannel(&htim3, &sConfigOC, TIM_CHANNEL_1) != HAL_OK)
  {
    Error_Handler();
  }
  if (HAL_TIM_PWM_ConfigChannel(&htim3, &sConfigOC, TIM_CHANNEL_2) != HAL_OK)
  {
    Error_Handler();
  }
  if (HAL_TIM_PWM_ConfigChannel(&htim3, &sConfigOC, TIM_CHANNEL_3) != HAL_OK)
  {
    Error_Handler();
  }
  if (HAL_TIM_PWM_ConfigChannel(&htim3, &sConfigOC, TIM_CHANNEL_4) != HAL_OK)
  {
    Error_Handler();
  }
  HAL_TIM_MspPostInit(&htim3);

}

static void MX_TIM4_Init(void)
{

  TIM_Encoder_InitTypeDef sConfig = {0};
  TIM_MasterConfigTypeDef sMasterConfig = {0};

  htim4.Instance = TIM4;
  htim4.Init.Prescaler = 0;
  htim4.Init.CounterMode = TIM_COUNTERMODE_UP;
  htim4.Init.Period = 65535;
  htim4.Init.ClockDivision = TIM_CLOCKDIVISION_DIV1;
  htim4.Init.AutoReloadPreload = TIM_AUTORELOAD_PRELOAD_DISABLE;
  sConfig.EncoderMode = TIM_ENCODERMODE_TI12;
  sConfig.IC1Polarity = TIM_ICPOLARITY_RISING;
  sConfig.IC1Selection = TIM_ICSELECTION_DIRECTTI;
  sConfig.IC1Prescaler = TIM_ICPSC_DIV1;
  sConfig.IC1Filter = 0;
  sConfig.IC2Polarity = TIM_ICPOLARITY_RISING;
  sConfig.IC2Selection = TIM_ICSELECTION_DIRECTTI;
  sConfig.IC2Prescaler = TIM_ICPSC_DIV1;
  sConfig.IC2Filter = 0;
  if (HAL_TIM_Encoder_Init(&htim4, &sConfig) != HAL_OK)
  {
    Error_Handler();
  }
  sMasterConfig.MasterOutputTrigger = TIM_TRGO_RESET;
  sMasterConfig.MasterSlaveMode = TIM_MASTERSLAVEMODE_DISABLE;
  if (HAL_TIMEx_MasterConfigSynchronization(&htim4, &sMasterConfig) != HAL_OK)
  {
    Error_Handler();
  }

}

static void MX_TIM8_Init(void)
{

  TIM_Encoder_InitTypeDef sConfig = {0};
  TIM_MasterConfigTypeDef sMasterConfig = {0};

  htim8.Instance = TIM8;
  htim8.Init.Prescaler = 0;
  htim8.Init.CounterMode = TIM_COUNTERMODE_UP;
  htim8.Init.Period = 65535;
  htim8.Init.ClockDivision = TIM_CLOCKDIVISION_DIV1;
  htim8.Init.RepetitionCounter = 0;
  htim8.Init.AutoReloadPreload = TIM_AUTORELOAD_PRELOAD_DISABLE;
  sConfig.EncoderMode = TIM_ENCODERMODE_TI12;
  sConfig.IC1Polarity = TIM_ICPOLARITY_RISING;
  sConfig.IC1Selection = TIM_ICSELECTION_DIRECTTI;
  sConfig.IC1Prescaler = TIM_ICPSC_DIV1;
  sConfig.IC1Filter = 0;
  sConfig.IC2Polarity = TIM_ICPOLARITY_RISING;
  sConfig.IC2Selection = TIM_ICSELECTION_DIRECTTI;
  sConfig.IC2Prescaler = TIM_ICPSC_DIV1;
  sConfig.IC2Filter = 0;
  if (HAL_TIM_Encoder_Init(&htim8, &sConfig) != HAL_OK)
  {
    Error_Handler();
  }
  sMasterConfig.MasterOutputTrigger = TIM_TRGO_RESET;
  sMasterConfig.MasterSlaveMode = TIM_MASTERSLAVEMODE_DISABLE;
  if (HAL_TIMEx_MasterConfigSynchronization(&htim8, &sMasterConfig) != HAL_OK)
  {
    Error_Handler();
  }

}

static void MX_USART1_UART_Init(void)
{

  huart1.Instance = USART1;
  huart1.Init.BaudRate = 115200;
  huart1.Init.WordLength = UART_WORDLENGTH_8B;
  huart1.Init.StopBits = UART_STOPBITS_1;
  huart1.Init.Parity = UART_PARITY_NONE;
  huart1.Init.Mode = UART_MODE_TX_RX;
  huart1.Init.HwFlowCtl = UART_HWCONTROL_NONE;
  huart1.Init.OverSampling = UART_OVERSAMPLING_16;
  if (HAL_UART_Init(&huart1) != HAL_OK)
  {
    Error_Handler();
  }

}

static void MX_GPIO_Init(void)
{
  GPIO_InitTypeDef GPIO_InitStruct = {0};

  /* GPIO Ports Clock Enable */
  __HAL_RCC_GPIOH_CLK_ENABLE();
  __HAL_RCC_GPIOA_CLK_ENABLE();
  __HAL_RCC_GPIOB_CLK_ENABLE();
  __HAL_RCC_GPIOE_CLK_ENABLE();
  __HAL_RCC_GPIOD_CLK_ENABLE();
  __HAL_RCC_GPIOC_CLK_ENABLE();
  __HAL_RCC_GPIOG_CLK_ENABLE();

  /*Configure GPIO pin Output Level */
  HAL_GPIO_WritePin(GPIOG, GPIO_PIN_13, GPIO_PIN_SET);

  /*Configure GPIO pin : PG13 */
  GPIO_InitStruct.Pin = GPIO_PIN_13;
  GPIO_InitStruct.Mode = GPIO_MODE_OUTPUT_PP;
  GPIO_InitStruct.Pull = GPIO_NOPULL;
  GPIO_InitStruct.Speed = GPIO_SPEED_FREQ_LOW;
  HAL_GPIO_Init(GPIOG, &GPIO_InitStruct);

}

void Error_Handler(void)
{
  __disable_irq();
  while (1)
  {
  }
}
